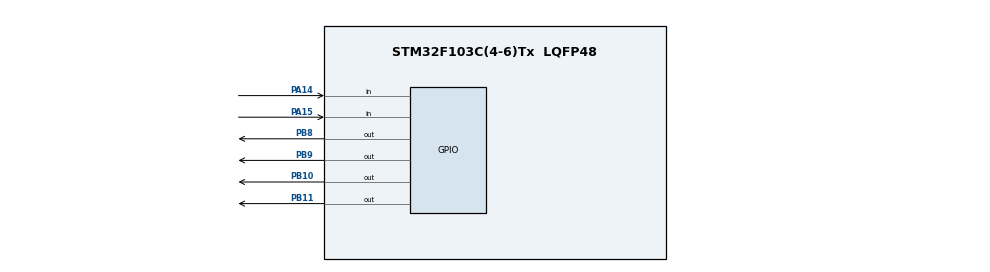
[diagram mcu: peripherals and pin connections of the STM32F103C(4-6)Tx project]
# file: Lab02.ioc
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Mcu.Family=STM32F1
Mcu.Name=STM32F103C(4-6)Tx
Mcu.Package=LQFP48
NVIC.PriorityGroup=NVIC_PRIORITYGROUP_4
PA14.Signal=GPIO_Input
PA15.Signal=GPIO_Input
PB10.Signal=GPIO_Output
PB11.Signal=GPIO_Output
PB8.Signal=GPIO_Output
PB9.Signal=GPIO_Output
ProjectManager.HeapSize=0x200
ProjectManager.StackSize=0x400
ProjectManager.TargetToolchain=STM32CubeIDE
RCC.APB1Freq_Value=8000000
RCC.APB2Freq_Value=8000000
VP_SYS_VS_ND.Mode=No_Debug
board=custom

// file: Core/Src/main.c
/* USER CODE BEGIN Header */
/**
  ******************************************************************************
  * @file           : main.c
  * @brief          : Main program body
  ******************************************************************************
  * @attention
  *
  * <h2><center>&copy; Copyright (c) 2021 STMicroelectronics.
  * All rights reserved.</center></h2>
  *
  * This software component is licensed by ST under BSD 3-Clause license,
  * the "License"; You may not use this file except in compliance with the
  * License. You may obtain a copy of the License at:
  *                        opensource.org/licenses/BSD-3-Clause
  *
  ******************************************************************************
  */
/* USER CODE END Header */
#include "main.h"
#include "gpio.h"

/* USER CODE BEGIN PV */
int a = 0;
int b = -1;
/* USER CODE END PV */

void SystemClock_Config(void);

int main(void)
{

  /* MCU Configuration--------------------------------------------------------*/

  /* Reset of all peripherals, Initializes the Flash interface and the Systick. */
  HAL_Init();

  /* Configure the system clock */
  SystemClock_Config();

  /* Initialize all configured peripherals */
  MX_GPIO_Init();

  /* Infinite loop */
  /* USER CODE BEGIN WHILE */
  while (1)
  {
	  if(HAL_GPIO_ReadPin (GPIOA, GPIO_PIN_15) == GPIO_PIN_SET)
	  {
		  if(++a >= 5)
		  {
			  a = 1;
		  }
	  }

	  if(HAL_GPIO_ReadPin (GPIOA, GPIO_PIN_14) == GPIO_PIN_SET)
	  {
	  		  b++;
	  		  if (b > 5)
	  		  {
	  			  b = 0;
	  		  }
	  }

	  HAL_Delay (400);

	  switch (a)
	  {
		case 1:
			HAL_GPIO_WritePin (GPIOB, GPIO_PIN_11, GPIO_PIN_SET);
			HAL_GPIO_WritePin (GPIOB, GPIO_PIN_8, GPIO_PIN_RESET);
			break;

		case 2:
			HAL_GPIO_WritePin (GPIOB, GPIO_PIN_8, GPIO_PIN_SET);
			HAL_GPIO_WritePin (GPIOB, GPIO_PIN_9, GPIO_PIN_RESET);
			break;

		case 3:
			HAL_GPIO_WritePin (GPIOB, GPIO_PIN_9, GPIO_PIN_SET);
			HAL_GPIO_WritePin (GPIOB, GPIO_PIN_10, GPIO_PIN_RESET);
			break;

		case 4:
			HAL_GPIO_WritePin (GPIOB, GPIO_PIN_10, GPIO_PIN_SET);
			HAL_GPIO_WritePin (GPIOB, GPIO_PIN_11, GPIO_PIN_RESET);
			break;
	 }

	  switch (b)
	  {
	  		case 1:
	  			HAL_GPIO_WritePin (GPIOB, GPIO_PIN_8, GPIO_PIN_RESET);
	  			break;

	  		case 2:
	  			HAL_GPIO_WritePin (GPIOB, GPIO_PIN_9, GPIO_PIN_RESET);
	  			break;

	  		case 3:
	  			HAL_GPIO_WritePin (GPIOB, GPIO_PIN_10, GPIO_PIN_RESET);
	  			break;

	  		case 4:
	  			HAL_GPIO_WritePin (GPIOB, GPIO_PIN_11, GPIO_PIN_RESET);
	  			break;

	  		case 5:
	  			HAL_GPIO_WritePin (GPIOB, GPIO_PIN_8, GPIO_PIN_SET);
	  			HAL_GPIO_WritePin (GPIOB, GPIO_PIN_9, GPIO_PIN_SET);
	  			HAL_GPIO_WritePin (GPIOB, GPIO_PIN_10, GPIO_PIN_SET);
	  			HAL_GPIO_WritePin (GPIOB, GPIO_PIN_11, GPIO_PIN_SET);
	  			break;
	  	}
	/* USER CODE END WHILE */

  }
}

void SystemClock_Config(void)
{
  RCC_OscInitTypeDef RCC_OscInitStruct = {0};
  RCC_ClkInitTypeDef RCC_ClkInitStruct = {0};

  /** Initializes the RCC Oscillators according to the specified parameters
  * in the RCC_OscInitTypeDef structure.
  */
  RCC_OscInitStruct.OscillatorType = RCC_OSCILLATORTYPE_HSI;
  RCC_OscInitStruct.HSIState = RCC_HSI_ON;
  RCC_OscInitStruct.HSICalibrationValue = RCC_HSICALIBRATION_DEFAULT;
  RCC_OscInitStruct.PLL.PLLState = RCC_PLL_NONE;
  if (HAL_RCC_OscConfig(&RCC_OscInitStruct) != HAL_OK)
  {
    Error_Handler();
  }
  /** Initializes the CPU, AHB and APB buses clocks
  */
  RCC_ClkInitStruct.ClockType = RCC_CLOCKTYPE_HCLK|RCC_CLOCKTYPE_SYSCLK
                              |RCC_CLOCKTYPE_PCLK1|RCC_CLOCKTYPE_PCLK2;
  RCC_ClkInitStruct.SYSCLKSource = RCC_SYSCLKSOURCE_HSI;
  RCC_ClkInitStruct.AHBCLKDivider = RCC_SYSCLK_DIV1;
  RCC_ClkInitStruct.APB1CLKDivider = RCC_HCLK_DIV1;
  RCC_ClkInitStruct.APB2CLKDivider = RCC_HCLK_DIV1;

  if (HAL_RCC_ClockConfig(&RCC_ClkInitStruct, FLASH_LATENCY_0) != HAL_OK)
  {
    Error_Handler();
  }
}

void Error_Handler(void)
{
  __disable_irq();
  while (1)
  {
  }
}

/************************ (C) COPYRIGHT STMicroelectronics *****END OF FILE****/
